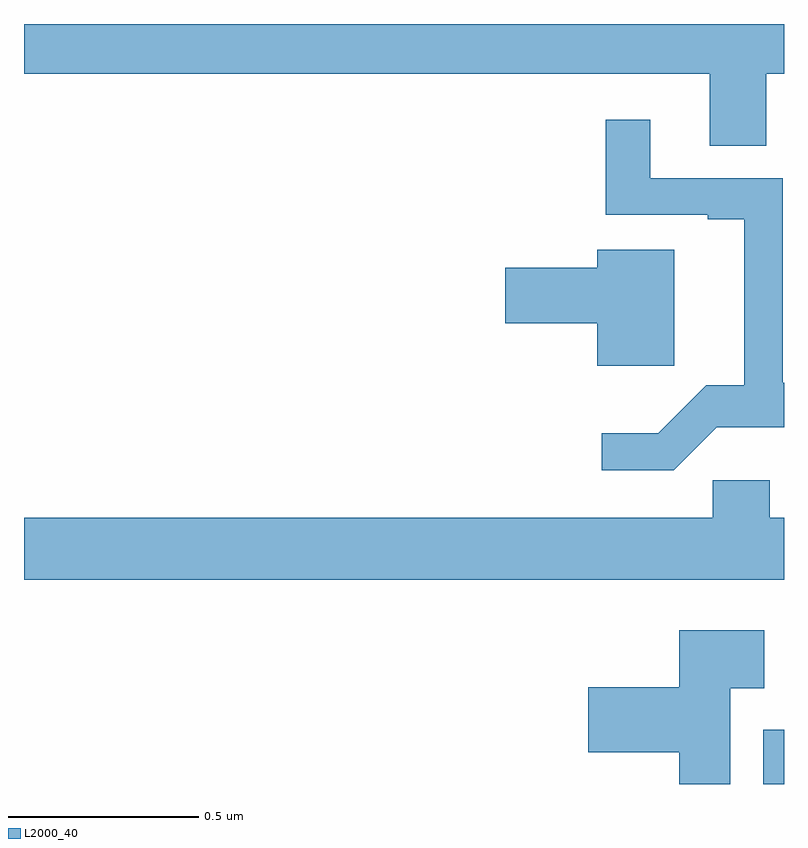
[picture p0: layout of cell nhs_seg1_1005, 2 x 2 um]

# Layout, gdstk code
import gdstk
lib = gdstk.Library(unit=1e-6, precision=1e-09)
def R(c, l, rs):  # rectangles x0, y0, x1, y1
    for r in rs: c.add(gdstk.rectangle(r[:2], r[2:], *l))
def P(c, l, *ps):  # polygons
    for p in ps: c.add(gdstk.Polygon(p, *l))
L2000_40 = (2000, 40)

nhs_seg1_1005 = lib.new_cell('nhs_seg1_1005')
R(nhs_seg1_1005, L2000_40, [(124.946,547.199,125,547.342)])
P(nhs_seg1_1005, L2000_40, [(124.953,549.068),(125,549.068),(125,549.199),(123,549.199),(123,549.068),(124.805,549.068),(124.805,548.878),(124.953,548.878)],
  [(124.823,548.138),(125,548.138),(125,548.255),(124.997,548.255),(124.997,548.793),(124.648,548.793),(124.648,548.947),(124.531,548.947),(124.531,548.697),(124.799,548.697),(124.799,548.685),(124.895,548.685),(124.895,548.248),(124.795,548.248),(124.669,548.122),(124.521,548.122),(124.521,548.025),(124.71,548.025)],
  [(124.711,548.605),(124.508,548.605),(124.508,548.558),(124.266,548.558),(124.266,548.411),(124.508,548.411),(124.508,548.3),(124.711,548.3)],
  [(125,547.9),(124.963,547.9),(124.963,547.998),(124.812,547.998),(124.812,547.9),(123,547.9),(123,547.736),(125,547.736)],
  [(124.858,547.451),(124.948,547.451),(124.948,547.603),(124.724,547.603),(124.724,547.453),(124.485,547.453),(124.485,547.283),(124.724,547.283),(124.724,547.199),(124.858,547.199)])

lib.write_gds('nhs_seg1_1005.gds')
